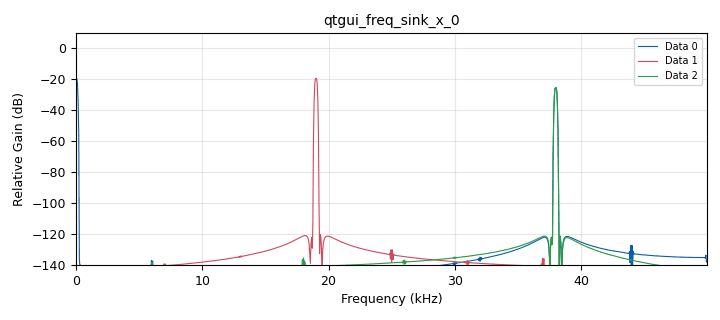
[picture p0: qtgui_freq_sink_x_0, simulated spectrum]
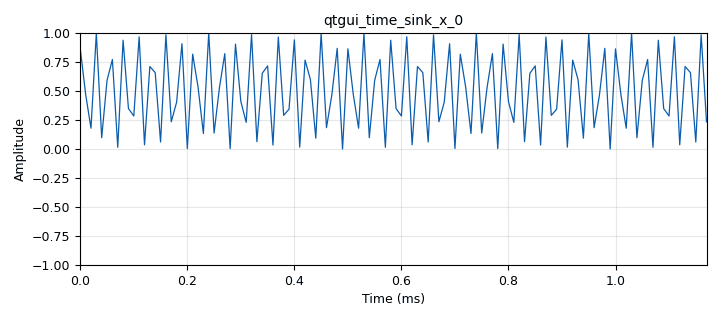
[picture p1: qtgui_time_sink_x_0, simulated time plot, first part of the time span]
options:
  parameters:
    generate_options: qt_gui
    id: test_multiply
    output_language: python
    title: Not titled yet
  states: {}

blocks:
- name: samp_rate
  id: variable
  parameters:
    value: 100e3
  states: {}
- name: shift
  id: variable
  parameters:
    value: np.pi/2
  states: {}
- name: analog_sig_source_x_2
  id: analog_sig_source_x
  parameters:
    amp: '1'
    comment: Pilot
    freq: 19e3
    offset: '0'
    phase: '0'
    samp_rate: samp_rate
    type: float
    waveform: analog.GR_COS_WAVE
  states: {}
- name: analog_sig_source_x_2_0
  id: analog_sig_source_x
  parameters:
    amp: '1'
    comment: Pilot
    freq: 19e3
    offset: '0'
    phase: '0'
    samp_rate: samp_rate
    type: float
    waveform: analog.GR_SIN_WAVE
  states: {}
- name: blocks_multiply_xx_0
  id: blocks_multiply_xx
  parameters:
    type: float
  states: {}
- name: blocks_multiply_xx_0_0
  id: blocks_multiply_xx
  parameters:
    type: float
  states: {}
- name: blocks_throttle2_0
  id: blocks_throttle2
  parameters:
    samples_per_second: samp_rate
    type: float
  states: {}
- name: import_0
  id: import
  parameters:
    imports: import numpy as np
  states: {}
- name: qtgui_freq_sink_x_0
  id: qtgui_freq_sink_x
  parameters:
    bw: samp_rate
    fc: '0'
    fftsize: '2048'
    freqhalf: 'False'
    nconnections: '3'
    type: float
    wintype: window.WIN_FLATTOP
  states: {}
- name: qtgui_time_sink_x_0
  id: qtgui_time_sink_x
  parameters:
    size: '1024'
    srate: samp_rate
    type: float
  states: {}

connections:
- [analog_sig_source_x_2, '0', blocks_multiply_xx_0, '0']
- [analog_sig_source_x_2, '0', blocks_multiply_xx_0, '1']
- [analog_sig_source_x_2, '0', blocks_multiply_xx_0_0, '0']
- [analog_sig_source_x_2, '0', qtgui_freq_sink_x_0, '1']
- [analog_sig_source_x_2_0, '0', blocks_multiply_xx_0_0, '1']
- [blocks_multiply_xx_0, '0', blocks_throttle2_0, '0']
- [blocks_multiply_xx_0_0, '0', qtgui_freq_sink_x_0, '2']
- [blocks_throttle2_0, '0', qtgui_freq_sink_x_0, '0']
- [blocks_throttle2_0, '0', qtgui_time_sink_x_0, '0']

metadata:
  file_format: 1
  grc_version: 3.10.12.0
